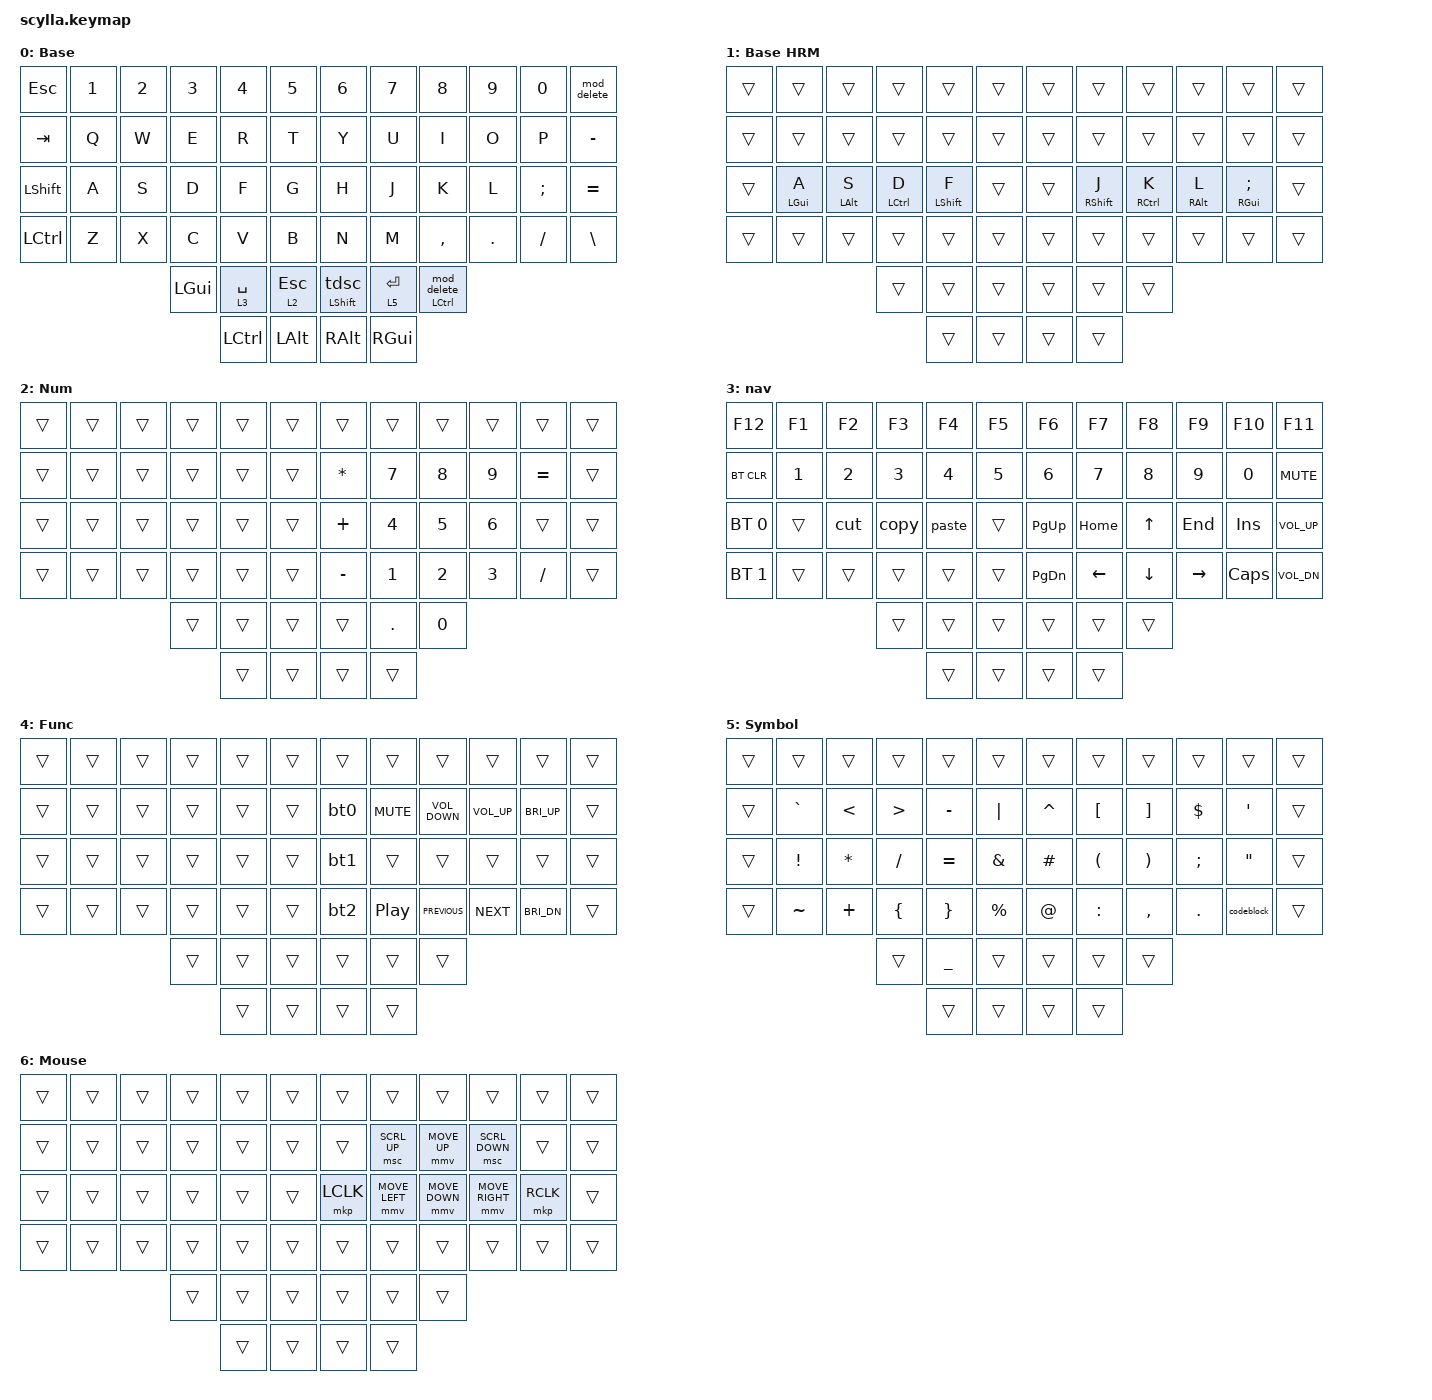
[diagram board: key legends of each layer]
#include <behaviors.dtsi>
#include <dt-bindings/zmk/bt.h>
#include <dt-bindings/zmk/keys.h>
#include <dt-bindings/zmk/pointing.h>

#define DEFAULT 0
#define LWR 1
#define RSE 2
#define ADJ 3
#define ZMK_POINTING_DEFAULT_MOVE_VAL 2600  // default: 600
#define ZMK_POINTING_DEFAULT_SCRL_VAL 12    // default: 10

&mmv {
    time-to-max-speed-ms = <700>;
    acceleration-exponent = <1>;
    trigger-period-ms = <16>;
};

&msc {
    acceleration-exponent = <1>;
    time-to-max-speed-ms = <100>;
    delay-ms = <0>;
};

/ {
    combos {
        compatible = "zmk,combos";

        mouse {
            bindings = <&tog 0>;
            key-positions = <11 0>;
        };

        num {
            bindings = <&tog 2>;
            key-positions = <0 1>;
        };

        toggle_hrm {
            bindings = <&tog 1>;
            key-positions = <50 51>;
        };

        fun_layer {
            bindings = <&tog 4>;
            key-positions = <49 52>;
        };
    };

    macros {
        bt_clr_0: bt_clr_0 {
            compatible = "zmk,behavior-macro";
            #binding-cells = <0>;
            bindings = <&bt BT_SEL 0 &bt BT_CLR>;
        };

        bt_clr_1: bt_clr_1 {
            compatible = "zmk,behavior-macro";
            #binding-cells = <0>;
            bindings = <&bt BT_SEL 1 &bt BT_CLR>;
        };

        bt_clr_2: bt_clr_2 {
            compatible = "zmk,behavior-macro";
            #binding-cells = <0>;
            bindings = <&bt BT_SEL 2 &bt BT_CLR>;
        };

        bt_clr_3: bt_clr_3 {
            compatible = "zmk,behavior-macro";
            #binding-cells = <0>;
            bindings = <&bt BT_SEL 3 &bt BT_CLR>;
        };

        bt_clr_4: bt_clr_4 {
            compatible = "zmk,behavior-macro";
            #binding-cells = <0>;
            bindings = <&bt BT_SEL 4 &bt BT_CLR>;
        };

        codeblock: backticks_macro {
            compatible = "zmk,behavior-macro";
            #binding-cells = <0>;
            bindings = <&kp GRAVE &kp GRAVE &kp GRAVE>;
            wait-ms = <0>;   /* no delay between keys */
        };

        btick: btick {
            compatible = "zmk,behavior-macro";
            #binding-cells = <0>;
            bindings = <&kp RA(SQT)>;
        };

        copy: copy {
            compatible = "zmk,behavior-macro";
            #binding-cells = <0>;
            bindings = <&kp LG(C)>;
            label = "COPY";
        };

        paste: paste {
            compatible = "zmk,behavior-macro";
            #binding-cells = <0>;
            bindings = <&kp LG(V)>;
            label = "PASTE";
        };

        change_in_lang: change_in_lang {
            compatible = "zmk,behavior-macro";
            #binding-cells = <0>;
            bindings = <&kp RA(SPACE)>;
            label = "CHANGE_IN_LANG";
        };

        cut: cut {
            compatible = "zmk,behavior-macro";
            #binding-cells = <0>;
            bindings = <&kp LG(X)>;
            label = "CUT";
        };
    };

    behaviors {
        bt0: bt0 {
            compatible = "zmk,behavior-mod-morph";
            bindings = <&bt BT_SEL 0>, <&bt_clr_0>;

            #binding-cells = <0>;
            mods = <(MOD_LSFT|MOD_RSFT)>;
        };

        bt1: bt1 {
            compatible = "zmk,behavior-mod-morph";
            bindings = <&bt BT_SEL 1>, <&bt_clr_1>;

            #binding-cells = <0>;
            mods = <(MOD_LSFT|MOD_RSFT)>;
        };

        bt2: bt2 {
            compatible = "zmk,behavior-mod-morph";
            bindings = <&bt BT_SEL 2>, <&bt_clr_2>;

            #binding-cells = <0>;
            mods = <(MOD_LSFT|MOD_RSFT)>;
        };

        bt3: bt3 {
            compatible = "zmk,behavior-mod-morph";
            bindings = <&bt BT_SEL 3>, <&bt_clr_3>;

            #binding-cells = <0>;
            mods = <(MOD_LSFT|MOD_RSFT)>;
        };

        bt4: bt4 {
            compatible = "zmk,behavior-mod-morph";
            bindings = <&bt BT_SEL 4>, <&bt_clr_4>;

            #binding-cells = <0>;
            mods = <(MOD_LSFT|MOD_RSFT)>;
        };

        /* Magic Shift Setup */

        skq: sticky_key_quick_release {
            compatible = "zmk,behavior-sticky-key";
            #binding-cells = <1>;
            bindings = <&kp>;
            release-after-ms = <1000>;
            quick-release;
            ignore-modifiers;
        };

        tdsc: tapdance_shift_capsword {
            compatible = "zmk,behavior-tap-dance";
            #binding-cells = <0>;
            tapping-term-ms = <200>;
            bindings = <&skq LSHIFT>, <&caps_word>;
        };

        /* Hold-Tap wrapper: hold = normal Shift, tap(s) see above */

        ms: magic_shift {
            compatible = "zmk,behavior-hold-tap";
            #binding-cells = <2>;
            hold-while-undecided;    /* press Shift immediately, release if it resolves as a tap */
            flavor = "balanced";     /* "tap-preferred" if false positive taps are a problem */
            tapping-term-ms = <200>;
            quick-tap-ms = <150>;
            bindings = <&kp>, <&tdsc>;
        };

        /* Momentary-Toggle wrapper, hold for layer or toggle on tap */

        mo_tog: behavior_mo_tog {
            compatible = "zmk,behavior-hold-tap";
            #binding-cells = <2>;
            flavor = "hold-preferred";
            tapping-term-ms = <200>;
            bindings = <&mo>, <&tog>;
        };

        /* Momentary-KP wrapper, hold for layer or tap for &kp */

        mk: hold_tap_layer_kp {
            compatible = "zmk,behavior-hold-tap";
            #binding-cells = <2>;
            flavor = "tap-preferred"; /* faster interrupt logic */
            tapping-term-ms = <200>; /* a bit shorter to have snappier decision for space key */
            require-prior-idle-ms = <175>; /* immediately resolve as tap while fast typing */
            quick-tap-ms = <175>; /* keeps double (or multiple) space taps snappy */
            hold-while-undecided; /* immediate symbol layer on hold, retract hold before sending space */
            bindings = <&mo>, <&kp>;
        };

        /* Modifier wrapper, hold for kp mod or tap for sticky mod */

        sm: sticky_mod_hold_wrapper {
            compatible = "zmk,behavior-hold-tap";
            #binding-cells = <2>;
            flavor = "tap-preferred"; /* faster interrupt logic */
            tapping-term-ms = <250>; /* a bit shorter to have snappier decision for key */
            require-prior-idle-ms = <200>; /* immediately resolve as tap while fast typing */
            quick-tap-ms = <200>; /* keeps double (or multiple) taps snappy */
            hold-while-undecided; /* immediate symbol layer on hold, retract hold before sending space */
            bindings = <&kp>, <&skq>;
        };

        hm_l: hm_l {
            compatible = "zmk,behavior-hold-tap";
            label = "HM_L";
            bindings = <&kp>, <&kp>;

            #binding-cells = <2>;
            tapping-term-ms = <300>;
            quick-tap-ms = <175>;
            require-prior-idle-ms = <150>;
            flavor = "balanced";
            hold-trigger-key-positions = <6 7 8 9 10 11 18 19 20 21 22 23 30 31 32 33 34 35 41 42 43 44 45 36 38 39 40 37>;
            hold-trigger-on-release;
        };

        hm_r: hm_r {
            compatible = "zmk,behavior-hold-tap";
            label = "HM_R";
            bindings = <&kp>, <&kp>;

            #binding-cells = <2>;
            tapping-term-ms = <300>;
            quick-tap-ms = <175>;
            require-prior-idle-ms = <150>;
            flavor = "balanced";
            hold-trigger-key-positions = <0 1 2 3 4 5 12 13 14 15 16 17 24 25 26 27 28 29 36 37 38 39 40 41 42 44 45 43>;
            hold-trigger-on-release;
        };

        hm_l_shift: hm_l_shift {
            compatible = "zmk,behavior-hold-tap";
            label = "HM_L_SHIFT";
            bindings = <&kp>, <&kp>;

            #binding-cells = <2>;
            tapping-term-ms = <200>;
            hold-trigger-on-release;
            flavor = "balanced";
            hold-trigger-key-positions = <6 7 8 9 10 11 18 19 20 21 22 23 30 31 32 33 34 35 41 42 43 44 45 38 39 40 36 37>;
            quick-tap-ms = <175>;
            require-prior-idle-ms = <150>;
        };

        hm_r_shift: hm_r_shift {
            compatible = "zmk,behavior-hold-tap";
            label = "HM_R_SHIFT";
            bindings = <&kp>, <&kp>;

            #binding-cells = <2>;
            tapping-term-ms = <200>;
            quick-tap-ms = <175>;
            require-prior-idle-ms = <150>;
            flavor = "balanced";
            hold-trigger-key-positions = <0 1 2 3 4 5 12 13 14 15 16 17 24 25 26 27 28 29 36 37 38 39 40 41 45 43 42 44>;
            hold-trigger-on-release;
        };

        mod_delete: mod_delete {
            compatible = "zmk,behavior-mod-morph";
            label = "MOD_DELETE";
            bindings = <&kp BACKSPACE>, <&kp DELETE>;

            #binding-cells = <0>;
            mods = <(MOD_RSFT|MOD_LSFT)>;
        };

        mod_del_thumb: mod_del_thumb {
            compatible = "zmk,behavior-hold-tap";
            label = "MOD_DEL_THUMB";
            bindings = <&kp>, <&mod_delete>;

            #binding-cells = <2>;
            tapping-term-ms = <200>;
            flavor = "balanced";
        };

        ms_layer: ms_layer {
            compatible = "zmk,behavior-hold-tap";
            #binding-cells = <2>;
            hold-while-undecided;
            flavor = "balanced";
            tapping-term-ms = <200>;
            quick-tap-ms = <150>;
            bindings = <&mo>, <&tdsc>;

            label = "MS_LAYER";
        };
    };

    keymap {
        compatible = "zmk,keymap";

        base {
            bindings = <
&kp ESC     &kp N1  &kp N2  &kp N3    &kp N4            &kp N5       &kp N6         &kp N7       &kp N8                  &kp N9   &kp N0    &mod_delete
&kp TAB     &kp Q   &kp W   &kp E     &kp R             &kp T        &kp Y          &kp U        &kp I                   &kp O    &kp P     &kp MINUS
&kp LSHIFT  &kp A   &kp S   &kp D     &kp F             &kp G        &kp H          &kp J        &kp K                   &kp L    &kp SEMI  &kp EQUAL
&kp LCTRL   &kp Z   &kp X   &kp C     &kp V             &kp B        &kp N          &kp M        &kp COMMA               &kp DOT  &kp FSLH  &kp BSLH
                            &kp LGUI  &lt 3 SPACE       &lt 2 ESC    &ms LSHIFT 0   &lt 5 ENTER  &mod_del_thumb LCTRL 0
                                      &kp LEFT_CONTROL  &kp LALT     &kp RIGHT_ALT  &kp RGUI
            >;

            label = "Base";
        };

        base_hrm {
            bindings = <
&trans  &trans        &trans        &trans         &trans          &trans    &trans  &trans         &trans         &trans        &trans           &trans
&trans  &trans        &trans        &trans         &trans          &trans    &trans  &trans         &trans         &trans        &trans           &trans
&trans  &hm_l LGUI A  &hm_l LALT S  &hm_l LCTRL D  &hm_l LSHIFT F  &trans    &trans  &hm_r RSHFT J  &hm_r RCTRL K  &hm_r RALT L  &hm_r RGUI SEMI  &trans
&trans  &trans        &trans        &trans         &trans          &trans    &trans  &trans         &trans         &trans        &trans           &trans
                                    &trans         &trans          &trans    &trans  &trans         &trans
                                                   &trans          &trans    &trans  &trans
            >;

            label = "Base HRM";
        };

        num {
            bindings = <
&trans  &trans  &trans  &trans  &trans  &trans    &trans     &trans   &trans  &trans  &trans     &trans
&trans  &trans  &trans  &trans  &trans  &trans    &kp STAR   &kp N7   &kp N8  &kp N9  &kp EQUAL  &trans
&trans  &trans  &trans  &trans  &trans  &trans    &kp PLUS   &kp N4   &kp N5  &kp N6  &trans     &trans
&trans  &trans  &trans  &trans  &trans  &trans    &kp MINUS  &kp N1   &kp N2  &kp N3  &kp SLASH  &trans
                        &trans  &trans  &trans    &trans     &kp DOT  &kp N0
                                &trans  &trans    &trans     &trans
            >;

            label = "Num";
        };

        nav {
            bindings = <
&kp F12       &kp F1  &kp F2  &kp F3  &kp F4  &kp F5    &kp F6     &kp F7    &kp F8    &kp F9     &kp F10   &kp F11
&bt BT_CLR    &kp N1  &kp N2  &kp N3  &kp N4  &kp N5    &kp N6     &kp N7    &kp N8    &kp N9     &kp N0    &kp C_MUTE
&bt BT_SEL 0  &trans  &cut    &copy   &paste  &trans    &kp PG_UP  &kp HOME  &kp UP    &kp END    &kp INS   &kp C_VOL_UP
&bt BT_SEL 1  &trans  &trans  &trans  &trans  &trans    &kp PG_DN  &kp LEFT  &kp DOWN  &kp RIGHT  &kp CAPS  &kp C_VOL_DN
                              &trans  &trans  &trans    &trans     &trans    &trans
                                      &trans  &trans    &trans     &trans
            >;
        };

        fn {
            bindings = <
&trans  &trans  &trans  &trans  &trans  &trans    &trans  &trans            &trans             &trans           &trans        &trans
&trans  &trans  &trans  &trans  &trans  &trans    &bt0    &kp C_MUTE        &kp C_VOLUME_DOWN  &kp C_VOLUME_UP  &kp C_BRI_UP  &trans
&trans  &trans  &trans  &trans  &trans  &trans    &bt1    &trans            &trans             &trans           &trans        &trans
&trans  &trans  &trans  &trans  &trans  &trans    &bt2    &kp C_PLAY_PAUSE  &kp C_PREVIOUS     &kp C_NEXT       &kp C_BRI_DN  &trans
                        &trans  &trans  &trans    &trans  &trans            &trans
                                &trans  &trans    &trans  &trans
            >;

            label = "Func";
        };

        sym {
            bindings = <
&trans  &trans     &trans    &trans     &trans     &trans         &trans     &trans     &trans     &trans      &trans             &trans
&trans  &kp GRAVE  &kp LT    &kp GT     &kp MINUS  &kp PIPE       &kp CARET  &kp LBKT   &kp RBKT   &kp DOLLAR  &kp SINGLE_QUOTE   &trans
&trans  &kp EXCL   &kp STAR  &kp SLASH  &kp EQUAL  &kp AMPS       &kp HASH   &kp LPAR   &kp RPAR   &kp SEMI    &kp DOUBLE_QUOTES  &trans
&trans  &kp TILDE  &kp PLUS  &kp LBRC   &kp RBRC   &kp PERCENT    &kp AT     &kp COLON  &kp COMMA  &kp DOT     &codeblock         &trans
                             &trans     &kp UNDER  &trans         &trans     &trans     &trans
                                        &trans     &trans         &trans     &trans
            >;

            label = "Symbol";
        };

        mouse {
            bindings = <
&trans  &trans  &trans  &trans  &trans  &trans    &trans     &trans          &trans          &trans           &trans     &trans
&trans  &trans  &trans  &trans  &trans  &trans    &trans     &msc SCRL_UP    &mmv MOVE_UP    &msc SCRL_DOWN   &trans     &trans
&trans  &trans  &trans  &trans  &trans  &trans    &mkp LCLK  &mmv MOVE_LEFT  &mmv MOVE_DOWN  &mmv MOVE_RIGHT  &mkp RCLK  &trans
&trans  &trans  &trans  &trans  &trans  &trans    &trans     &trans          &trans          &trans           &trans     &trans
                        &trans  &trans  &trans    &trans     &trans          &trans
                                &trans  &trans    &trans     &trans
            >;

            label = "Mouse";
        };
    };
};
